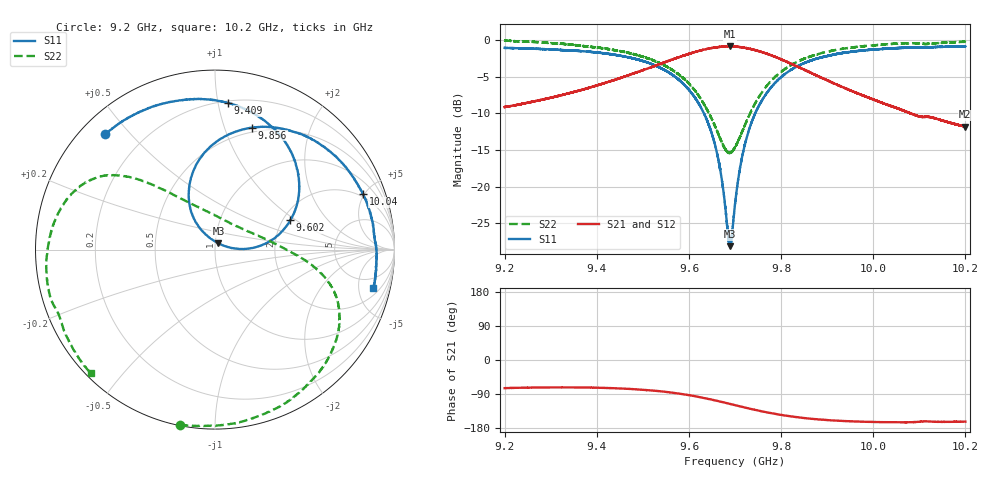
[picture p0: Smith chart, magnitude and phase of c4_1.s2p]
!Agilent Technologies,N5242A,MY51221714,A.09.90.19
!Agilent N5242A: A.09.90.19
!Date: Tuesday, March 26, 2024 15:52:11
!Correction: S11(Full 2 Port(1,2))
!S21(Full 2 Port(1,2))
!S12(Full 2 Port(1,2))
!S22(Full 2 Port(1,2))
!S2P File: Measurements: S11, S21, S12, S22:
# Hz S  dB  R 50
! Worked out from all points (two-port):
!   16001 points, 9.2 GHz to 10.2 GHz, reference 50 ohm
!   highest |S21| = -0.83 dB at 9.69 GHz (marker M1); lowest = -11.8 dB at 10.2 GHz (marker M2)
!   |S21| within 3 dB of the highest: 9.512 GHz to 9.844 GHz (331.5 MHz wide, 3.43 % of centre); 9.843639 GHz to 9.843776 GHz (137 kHz wide, 0.00139 % of centre)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
!   lowest |S11| = -28.1 dB at 9.689 GHz (marker M3), VSWR 1.08, Z = 51.8 + j3.55 ohm
!   |S11| at or under -10 dB: 9.633 GHz to 9.744 GHz (111 MHz wide, 1.15 % of centre)
!   |S22| runs from -15.5 to 0.0 dB; largest |S21 - S12| = 0.011
!   S11 on the Smith chart (normalised r, x): 9.2 GHz: 0.07, +0.43; 9.409 GHz: 0.21, +1.07; 9.602 GHz: 2.19, +0.90; 9.856 GHz: 0.45, +1.24; 10.04 GHz: 1.79, +4.90; 10.2 GHz: 2.88, -7.16
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9.2e9  -1.04 133.5  -9.12 -74.2  -9.11 -74.9  -0.04 -101.3
9.278812e9  -1.19 116.2  -8.15 -72.6  -8.14 -73.2  -0.29 -79.7
9.366688e9  -1.48 95.5  -6.79 -72.6  -6.78 -73.2  -0.76 -57.1
9.4085e9  -1.72 84.8  -6.00 -73.3  -6.01 -74.0  -1.05 -46.7
9.47025e9  -2.35 67.3  -4.75 -76.3  -4.74 -76.9  -1.75 -32.5
9.533375e9  -3.65 47.1  -3.34 -82.0  -3.33 -82.6  -3.01 -19.6
9.602188e9  -6.95 21.4  -1.81 -93.2  -1.81 -93.8  -6.05 -6.4
9.655062e9  -13.89 2.3  -1.01 -106.1  -1.00 -106.7  -11.52 15.1
9.669562e9  -18.28 2.3  -0.90 -110.2  -0.88 -110.7  -13.65 30.3
9.689e9  -28.13 60.8  -0.85 -115.8  -0.84 -116.4  -15.39 65.4
9.689688e9  -27.90 67.2  -0.83 -116.1  -0.84 -116.6  -15.37 67.1
9.7e9  -22.53 115.8  -0.86 -119.1  -0.86 -119.6  -14.61 86.5
9.719812e9  -14.68 125.0  -1.02 -125.0  -1.01 -125.5  -11.84 111.9
9.749125e9  -9.28 115.2  -1.43 -133.1  -1.42 -133.6  -8.03 128.0
9.806062e9  -4.73 91.8  -2.77 -146.0  -2.77 -146.6  -4.03 139.9
9.85575e9  -2.97 73.1  -4.18 -153.9  -4.18 -154.5  -2.38 147.7
9.866688e9  -2.73 69.4  -4.50 -155.2  -4.51 -155.7  -2.15 149.5
9.934938e9  -1.72 48.1  -6.45 -160.9  -6.45 -161.4  -1.15 162.2
1.003338e10  -1.14 22.4  -8.88 -164.1  -8.87 -164.7  -0.53 -176.6
1.004112e10  -1.11 20.5  -9.04 -164.2  -9.05 -164.7  -0.51 -174.8
1.019969e10  -0.84 -13.6  -11.81 -162.6  -11.80 -163.2  -0.21 -135.3
1.02e10  -0.83 -13.7  -11.81 -162.6  -11.79 -163.2  -0.21 -135.2
